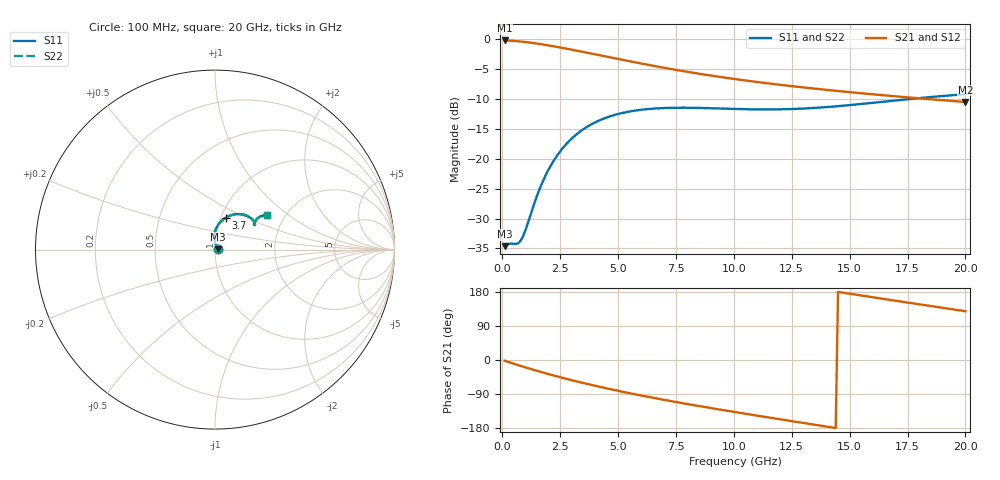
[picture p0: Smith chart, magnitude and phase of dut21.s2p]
! Touchstone file exported from HFSS 2024.1.0
!  File:  C:/UserFiles/LocalFiles/RDL_TSV_Batchsim/temp_RDL_TSV_21_1779399827.aedt
!  Generated:  06:02:12 AM May 22, 2026
!  Design:  RDL_TSV
!  Project:  temp_RDL_TSV_21_1779399827
!  Setup:  Setup1
!  Solution:  Sweep
! Variables:
!  dtsv = 9.97um
!  hbump = 3um
!  htsv = 82.16um
!  ldown = 602.67um
!  lrdl = 364.69um
!  p = 40
!  p1 = 49.92um
!  rhole = 10um
!  subl = 3266.77um
!  t = 450um
!  tdown = 3.88um
!  trdl = 2.69um
!  viad = 10um
!  wdown = 22.49um
!  wrdl = 18.34um
!  xbump = 18um
# GHz S MA R 50.000000
! Terminal data exported
! Port[1] = TM1_1_T1
! Port[2] = TM1_4_T1
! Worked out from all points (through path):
!   200 points, 100 MHz to 20 GHz, reference 50 ohm
!   highest |S21| = -0.17 dB at 100 MHz (marker M1); lowest = -10.5 dB at 20 GHz (marker M2)
!   group delay of S21, straight-line fit = 30.3 ps
!   lowest |S11| = -34.6 dB at 100 MHz (marker M3), VSWR 1.04, Z = 51.9 + j0.249 ohm
!   |S11| at or under -10 dB: start of sweep to 17.54 GHz
!   |S22| runs from -34.6 to -9.2 dB; largest |S21 - S12| = 1.9e-14
!   S11 on the Smith chart (normalised r, x): 100 MHz: 1.04, +0.00; 3.7 GHz: 1.05, +0.39; 20 GHz: 1.63, +0.71
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0.1  0.01855 7.4  0.9811 -2.0  0.9811 -2.0  0.01855 7.4
! Gamma 0 0 0 0
! Port Impedance 50 0 50 0
0.3  0.01942 19.0  0.9776 -6.0  0.9776 -6.0  0.01941 19.0
0.6  0.01937 38.3  0.9688 -11.9  0.9688 -11.9  0.01937 38.3
0.8  0.02071 56.5  0.961 -15.7  0.961 -15.7  0.02071 56.5
1  0.02525 73.6  0.9518 -19.5  0.9518 -19.5  0.02526 73.6
1.6  0.0551 93.2  0.9177 -30.3  0.9177 -30.3  0.05513 93.2
2.1  0.0882 91.7  0.8847 -38.9  0.8847 -38.9  0.08824 91.7
2.7  0.1289 84.8  0.8427 -48.6  0.8427 -48.6  0.1289 84.8
3.5  0.1771 74.1  0.7862 -60.7  0.7862 -60.7  0.1771 74.0
3.7  0.1875 71.5  0.7723 -63.6  0.7723 -63.6  0.1875 71.4
4.4  0.2181 62.9  0.725 -73.4  0.725 -73.4  0.2182 62.8
5.2  0.2427 54.4  0.6747 -83.9  0.6747 -83.9  0.2427 54.4
6  0.2578 47.5  0.6289 -93.7  0.6289 -93.7  0.2578 47.4
6.8  0.2655 41.9  0.5881 -103.1  0.5881 -103.1  0.2655 41.9
8.4  0.2672 34.6  0.5201 -120.5  0.5201 -120.5  0.2672 34.6
10.1  0.2616 31.7  0.4645 -137.9  0.4645 -137.9  0.2616 31.6
11.7  0.2595 32.1  0.4237 -153.6  0.4237 -153.6  0.2594 32.1
13.4  0.2664 34.2  0.389 -170.0  0.389 -170.0  0.2662 34.1
15  0.2819 35.9  0.362 174.9  0.362 174.9  0.2817 35.8
16.7  0.3044 36.3  0.3376 159.0  0.3376 159.0  0.3042 36.3
18.4  0.3281 35.3  0.3167 143.3  0.3167 143.3  0.3278 35.3
20  0.3477 33.4  0.2996 128.8  0.2996 128.8  0.3474 33.3
